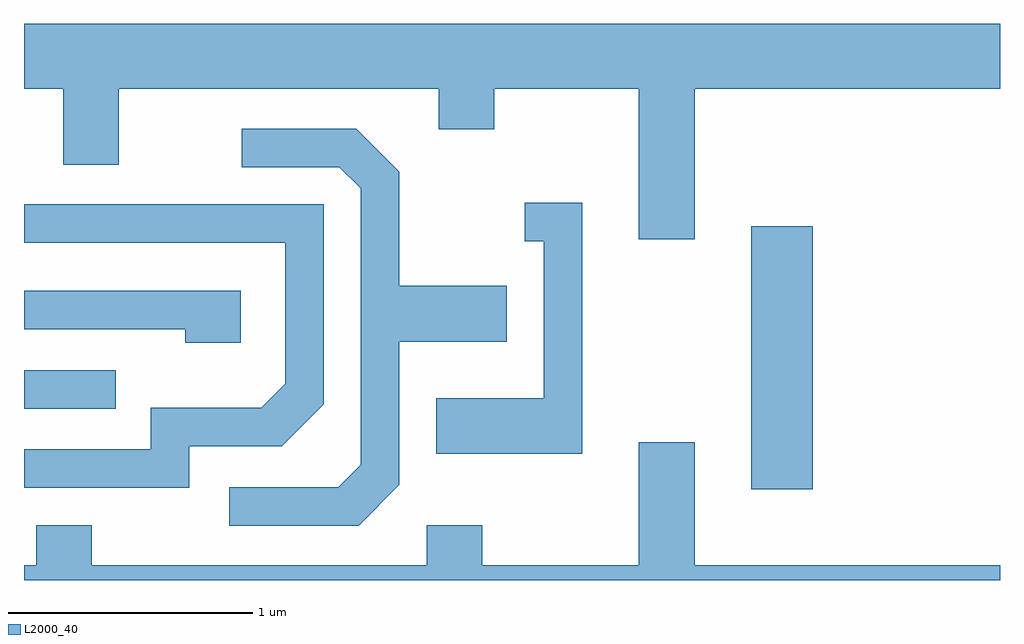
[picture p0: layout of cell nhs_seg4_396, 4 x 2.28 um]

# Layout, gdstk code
import gdstk
lib = gdstk.Library(unit=1e-6, precision=1e-09)
def R(c, l, rs):  # rectangles x0, y0, x1, y1
    for r in rs: c.add(gdstk.rectangle(r[:2], r[2:], *l))
def P(c, l, *ps):  # polygons
    for p in ps: c.add(gdstk.Polygon(p, *l))
L2000_40 = (2000, 40)

nhs_seg4_396 = lib.new_cell('nhs_seg4_396')
R(nhs_seg4_396, L2000_40, [(198.591,1366.356,198.844,1367.434), (195.611,1366.686,195.988,1366.844)])
P(nhs_seg4_396, L2000_40, [(198.359,1367.996),(199.611,1367.996),(199.611,1368.264),(195.611,1368.264),(195.611,1367.996),(195.771,1367.996),(195.771,1367.686),(195.999,1367.686),(195.999,1367.996),(197.311,1367.996),(197.311,1367.831),(197.539,1367.831),(197.539,1367.996),(198.131,1367.996),(198.131,1367.381),(198.359,1367.381)],
  [(197.149,1366.374),(197.149,1366.961),(197.589,1366.961),(197.589,1367.189),(197.149,1367.189),(197.149,1367.657),(196.972,1367.834),(196.503,1367.834),(196.503,1367.676),(196.904,1367.676),(196.991,1367.589),(196.991,1366.457),(196.899,1366.364),(196.453,1366.364),(196.453,1366.206),(196.982,1366.206)],
  [(197.899,1367.529),(197.663,1367.529),(197.663,1367.371),(197.741,1367.371),(197.741,1366.729),(197.301,1366.729),(197.301,1366.501),(197.899,1366.501)],
  [(196.289,1366.531),(196.667,1366.531),(196.839,1366.704),(196.839,1367.524),(195.611,1367.524),(195.611,1367.366),(196.681,1367.366),(196.681,1366.787),(196.584,1366.689),(196.131,1366.689),(196.131,1366.519),(195.611,1366.519),(195.611,1366.361),(196.289,1366.361)],
  [(196.499,1367.169),(195.611,1367.169),(195.611,1367.011),(196.271,1367.011),(196.271,1366.956),(196.499,1366.956)],
  [(199.611,1366.044),(198.359,1366.044),(198.359,1366.549),(198.131,1366.549),(198.131,1366.044),(197.489,1366.044),(197.489,1366.209),(197.261,1366.209),(197.261,1366.044),(195.889,1366.044),(195.889,1366.209),(195.661,1366.209),(195.661,1366.044),(195.611,1366.044),(195.611,1365.982),(199.611,1365.982)])

lib.write_gds('nhs_seg4_396.gds')
